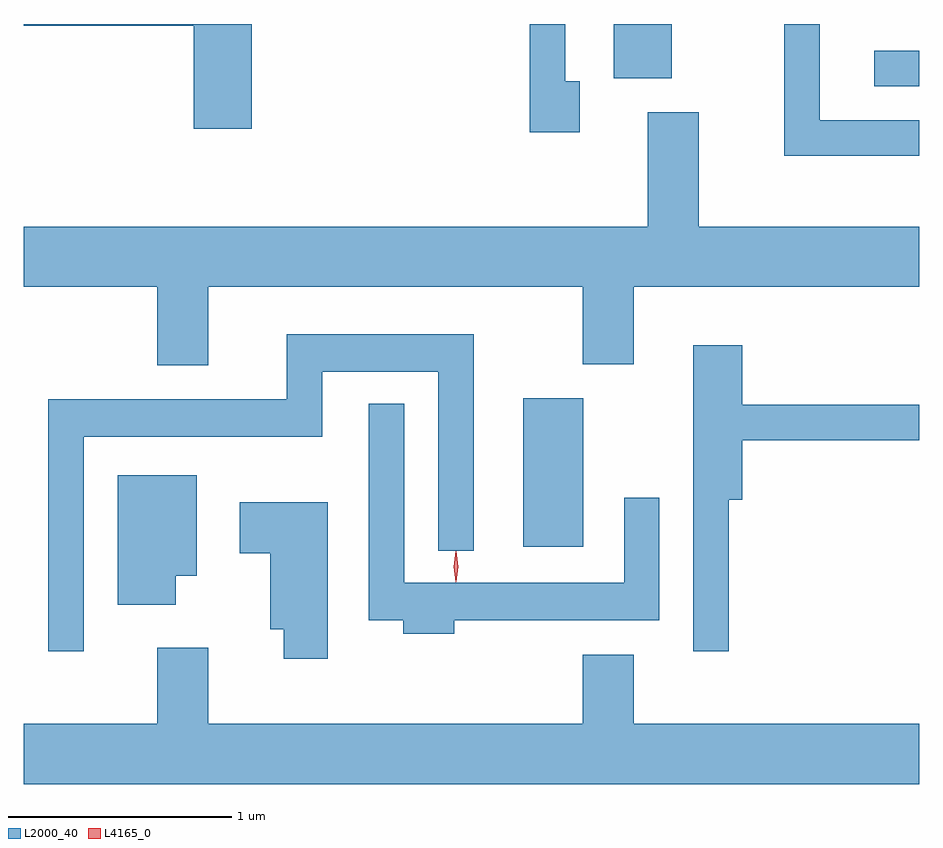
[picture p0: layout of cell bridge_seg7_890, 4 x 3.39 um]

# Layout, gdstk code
import gdstk
lib = gdstk.Library(unit=1e-6, precision=1e-09)
def R(c, l, rs):  # rectangles x0, y0, x1, y1
    for r in rs: c.add(gdstk.rectangle(r[:2], r[2:], *l))
def P(c, l, *ps):  # polygons
    for p in ps: c.add(gdstk.Polygon(p, *l))
L2000_40 = (2000, 40)
L4165_0 = (4165, 0)

bridge_seg7_890 = lib.new_cell('bridge_seg7_890')
R(bridge_seg7_890, L2000_40, [(425.046,1708.716,425.314,1709.379), (426.613,1710.771,426.815,1710.929), (425.451,1710.806,425.709,1711.049)])
P(bridge_seg7_890, L2000_40, [(425.299,1710.794),(425.234,1710.794),(425.234,1711.049),(425.076,1711.049),(425.076,1710.566),(425.299,1710.566)],
  [(426.815,1710.619),(426.369,1710.619),(426.369,1711.049),(426.211,1711.049),(426.211,1710.461),(426.815,1710.461)],
  [(423.834,1711.049),(422.815,1711.049),(422.815,1711.041),(423.576,1711.041),(423.576,1710.581),(423.834,1710.581)],
  [(423.639,1709.876),(425.311,1709.876),(425.311,1709.531),(425.539,1709.531),(425.539,1709.876),(426.815,1709.876),(426.815,1710.144),(425.829,1710.144),(425.829,1710.654),(425.601,1710.654),(425.601,1710.144),(422.815,1710.144),(422.815,1709.876),(423.411,1709.876),(423.411,1709.526),(423.639,1709.526)],
  [(423.084,1709.206),(424.149,1709.206),(424.149,1709.496),(424.666,1709.496),(424.666,1708.698),(424.824,1708.698),(424.824,1709.664),(423.991,1709.664),(423.991,1709.374),(422.926,1709.374),(422.926,1708.248),(423.084,1708.248)],
  [(425.964,1708.926),(426.024,1708.926),(426.024,1709.191),(426.815,1709.191),(426.815,1709.349),(426.024,1709.349),(426.024,1709.614),(425.806,1709.614),(425.806,1708.248),(425.964,1708.248)],
  [(424.739,1708.386),(425.654,1708.386),(425.654,1708.933),(425.496,1708.933),(425.496,1708.554),(424.514,1708.554),(424.514,1709.353),(424.356,1709.353),(424.356,1708.386),(424.511,1708.386),(424.511,1708.326),(424.739,1708.326)],
  [(423.494,1708.586),(423.589,1708.586),(423.589,1709.034),(423.236,1709.034),(423.236,1708.456),(423.494,1708.456)],
  [(424.174,1708.914),(423.781,1708.914),(423.781,1708.686),(423.916,1708.686),(423.916,1708.346),(423.976,1708.346),(423.976,1708.216),(424.174,1708.216)],
  [(426.815,1707.924),(425.539,1707.924),(425.539,1708.234),(425.311,1708.234),(425.311,1707.924),(423.639,1707.924),(423.639,1708.264),(423.411,1708.264),(423.411,1707.924),(422.815,1707.924),(422.815,1707.656),(426.815,1707.656)])
P(bridge_seg7_890, L4165_0, [(424.745,1708.557),(424.745,1708.558),(424.735,1708.627),(424.745,1708.696),(424.745,1708.696),(424.746,1708.696),(424.755,1708.627),(424.746,1708.558)],
  [(424.745,1708.559),(424.744,1708.56),(424.735,1708.626),(424.744,1708.692),(424.745,1708.693),(424.745,1708.692),(424.755,1708.626),(424.745,1708.56)])

lib.write_gds('bridge_seg7_890.gds')
